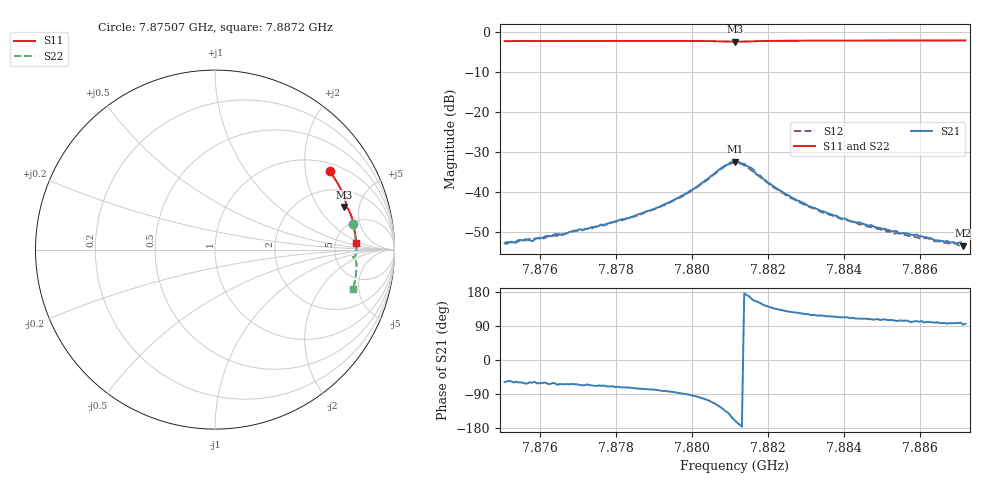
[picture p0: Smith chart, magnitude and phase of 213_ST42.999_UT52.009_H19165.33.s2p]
#  HZ  S  DB  R  50.00
! Rohde & Schwarz Vector Network Analyzer
! Rohde-Schwarz,ZNB20-2Port,1311601062101988,3.16
! Created: UTC 1/12/2023, 6:45:15 PM
! freq[Hz]  db:S11  ang:S11  db:S21  ang:S21  db:S12  ang:S12  db:S22  ang:S22
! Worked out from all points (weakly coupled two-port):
!   201 points, 7.87507 GHz to 7.8872 GHz, reference 50 ohm
!   highest |S21| = -32.38 dB at 7.88114 GHz (marker M1); lowest = -53.4 dB at 7.88714 GHz (marker M2)
!   lowest |S11| = -2.4 dB at 7.88114 GHz (marker M3), VSWR 7.32, Z = 157 + j177 ohm
!   |S11| at or under -10 dB: nowhere
!   |S22| runs from -2.3 to -1.9 dB; largest |S21 - S12| = 0.0019
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7.875072e9  -2.23 34.3  -52.79 -58.1  -52.69 -60.7  -2.16 10.4
7.875618e9  -2.22 32.8  -51.74 -62.6  -52.04 -60.9  -2.15 9.2
7.8758e9  -2.22 32.3  -52.28 -59.9  -52.00 -64.2  -2.15 8.8
7.876407e9  -2.21 30.7  -50.45 -62.2  -50.91 -66.0  -2.11 7.3
7.876589e9  -2.21 30.2  -50.79 -63.8  -50.47 -66.8  -2.12 6.9
7.877135e9  -2.20 28.7  -49.46 -67.1  -49.53 -71.2  -2.11 5.7
7.878348e9  -2.18 25.4  -46.52 -72.6  -46.59 -75.6  -2.09 2.8
7.879136e9  -2.18 23.2  -43.76 -80.2  -43.88 -83.0  -2.07 1.0
7.879864e9  -2.19 21.1  -40.29 -90.3  -40.39 -93.4  -2.07 -0.9
7.880895e9  -2.34 18.3  -33.25 -135.4  -33.42 -138.5  -2.24 -3.3
7.881138e9  -2.39 18.3  -32.38 -159.9  -32.63 -162.1  -2.28 -3.2
7.881562e9  -2.30 18.0  -33.91 162.3  -34.47 159.5  -2.19 -3.2
7.881684e9  -2.26 17.7  -35.37 155.7  -35.39 151.9  -2.15 -3.4
7.88223e9  -2.18 16.1  -39.06 134.5  -39.21 131.2  -2.06 -4.7
7.882593e9  -2.16 15.1  -41.15 127.2  -41.45 123.2  -2.02 -5.6
7.8832e9  -2.13 13.4  -43.95 119.1  -44.01 116.0  -2.01 -7.1
7.883928e9  -2.11 11.4  -46.58 112.8  -46.68 109.7  -1.98 -8.8
7.885202e9  -2.10 8.0  -49.52 105.4  -49.85 102.1  -1.96 -11.6
7.886415e9  -2.09 4.8  -52.05 98.4  -52.34 94.4  -1.94 -14.3
7.887082e9  -2.08 3.1  -52.51 98.7  -53.50 93.9  -1.93 -15.7
7.887143e9  -2.08 3.0  -53.37 93.1  -53.34 92.4  -1.94 -15.9
7.887203e9  -2.08 2.8  -52.99 95.6  -53.37 92.4  -1.94 -16.0
